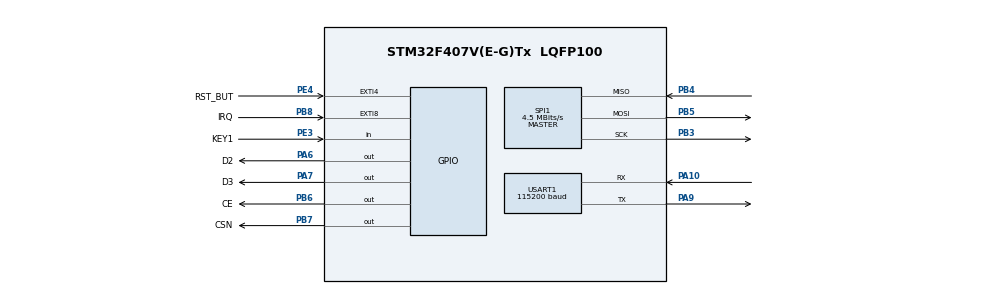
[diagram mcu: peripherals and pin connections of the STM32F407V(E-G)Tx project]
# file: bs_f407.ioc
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IWDG.Prescaler=IWDG_PRESCALER_256
Mcu.Family=STM32F4
Mcu.Name=STM32F407V(E-G)Tx
Mcu.Package=LQFP100
NVIC.EXTI4_IRQn=true\:1\:0\:true\:false\:true\:true\:true
NVIC.EXTI9_5_IRQn=true\:0\:0\:false\:false\:true\:true\:true
NVIC.PriorityGroup=NVIC_PRIORITYGROUP_4
NVIC.USART1_IRQn=true\:1\:0\:true\:false\:true\:true\:true
PA0-WKUP.Mode=SYS_WakeUp0
PA0-WKUP.Signal=SYS_WKUP
PA10.Mode=Asynchronous
PA10.Signal=USART1_RX
PA13.Mode=Serial_Wire
PA13.Signal=SYS_JTMS-SWDIO
PA14.Mode=Serial_Wire
PA14.Signal=SYS_JTCK-SWCLK
PA6.GPIO_Label=D2
PA6.Signal=GPIO_Output
PA7.GPIO_Label=D3
PA7.Signal=GPIO_Output
PA9.Mode=Asynchronous
PA9.Signal=USART1_TX
PB3.GPIO_Speed=GPIO_SPEED_FREQ_HIGH
PB3.Mode=Full_Duplex_Master
PB3.Signal=SPI1_SCK
PB4.GPIO_Speed=GPIO_SPEED_FREQ_HIGH
PB4.Mode=Full_Duplex_Master
PB4.Signal=SPI1_MISO
PB5.GPIO_Speed=GPIO_SPEED_FREQ_HIGH
PB5.Mode=Full_Duplex_Master
PB5.Signal=SPI1_MOSI
PB6.GPIO_Label=CE
PB6.Signal=GPIO_Output
PB7.GPIO_Label=CSN
PB7.Signal=GPIO_Output
PB8.GPIO_Label=IRQ
PB8.GPIO_ModeDefaultEXTI=GPIO_MODE_IT_FALLING
PB8.Signal=GPXTI8
PE3.GPIO_Label=KEY1
PE3.Signal=GPIO_Input
PE4.GPIO_Label=RST_BUT
PE4.GPIO_ModeDefaultEXTI=GPIO_MODE_IT_FALLING
PE4.GPIO_PuPd=GPIO_PULLUP
PE4.Signal=GPXTI4
PH0-OSC_IN.Mode=HSE-External-Oscillator
PH0-OSC_IN.Signal=RCC_OSC_IN
PH1-OSC_OUT.Mode=HSE-External-Oscillator
PH1-OSC_OUT.Signal=RCC_OSC_OUT
ProjectManager.HeapSize=0x200
ProjectManager.StackSize=0x400
ProjectManager.TargetToolchain=MDK-ARM V5.32
RCC.48MHZClocksFreq_Value=36000000
RCC.AHBFreq_Value=72000000
RCC.APB1CLKDivider=RCC_HCLK_DIV2
RCC.APB1Freq_Value=36000000
RCC.APB1TimFreq_Value=72000000
RCC.APB2Freq_Value=72000000
RCC.APB2TimFreq_Value=72000000
RCC.CortexFreq_Value=72000000
RCC.HCLKFreq_Value=72000000
RCC.HSE_VALUE=8000000
RCC.HSI_VALUE=16000000
RCC.LSE_VALUE=32768
RCC.PLLM=4
RCC.PLLN=72
RCC.PLLSourceVirtual=RCC_PLLSOURCE_HSE
RCC.SYSCLKFreq_VALUE=72000000
RCC.SYSCLKSource=RCC_SYSCLKSOURCE_PLLCLK
RCC.VCOOutputFreq_Value=144000000
SPI1.BaudRatePrescaler=SPI_BAUDRATEPRESCALER_16
SPI1.CalculateBaudRate=4.5 MBits/s
SPI1.Direction=SPI_DIRECTION_2LINES
SPI1.Mode=SPI_MODE_MASTER
SPI1.VirtualType=VM_MASTER
USART1.BaudRate=115200
USART1.VirtualMode=VM_ASYNC
VP_IWDG_VS_IWDG.Mode=IWDG_Activate
board=custom

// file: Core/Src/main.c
/* USER CODE BEGIN Header */
/**
  ******************************************************************************
  * @file           : main.c
  * @brief          : Main program body
  ******************************************************************************
  * @attention
  *
  * Copyright (c) 2022 STMicroelectronics.
  * All rights reserved.
  *
  * This software is licensed under terms that can be found in the LICENSE file
  * in the root directory of this software component.
  * If no LICENSE file comes with this software, it is provided AS-IS.
  *
  ******************************************************************************
  */
/* USER CODE END Header */
#include "main.h"

/* USER CODE BEGIN PV */
char str[64] = {0};
uint8_t tx_buf[3]={0};
extern uint8_t rx_buf[];
extern volatile char rx_str[UART_RX_BUFFER_SIZE];
uint8_t buf[5]={0};
uint8_t dt_reg = 0;
uint8_t led_stat[NUM_OF_BUTS] = {0x00};
extern volatile int led_st;
extern volatile int command;
extern volatile int rec_cmnd;
uint8_t but_cmnds[NUM_OF_BUTS] = {0x01};
uint8_t but_cmnds_temp[NUM_OF_BUTS] = {0x01};
uint32_t but_times[NUM_OF_BUTS] = {MAX_TIME};
uint8_t but_addrs[] = {0x01, 0x02, 0x03, 0x04, 0x05, 0x06, 0x07, 0x08, 0x09, 0x0A, 0x0B, 0x0C, 0x0D, 0x0E, 0x0F,0x10, 0x11, 0x12, 0x13, 0x14};
uint8_t but_counter = 0;
uint8_t push_rst = 0;
uint32_t min_time = MAX_TIME;
extern volatile uint8_t f_uart_rec;
uint8_t first_push = 0;

/* USER CODE END PV */

void SystemClock_Config(void);
static void MX_GPIO_Init(void);
static void MX_IWDG_Init(void);
static void MX_SPI1_Init(void);
static void MX_USART1_UART_Init(void);

/* USER CODE BEGIN 0 */

void USART_TX (uint8_t* dt, uint16_t sz)
{
  uint16_t ind = 0;
  while (ind<sz)
  {
    while (!LL_USART_IsActiveFlag_TXE(USART1)) {}
    LL_USART_TransmitData8(USART1,*(uint8_t*)(dt+ind));
    ind++;
  }
}

/* USER CODE END 0 */

int main(void)
{

  /* MCU Configuration--------------------------------------------------------*/

  /* Reset of all peripherals, Initializes the Flash interface and the Systick. */

  LL_APB2_GRP1_EnableClock(LL_APB2_GRP1_PERIPH_SYSCFG);
  LL_APB1_GRP1_EnableClock(LL_APB1_GRP1_PERIPH_PWR);

  NVIC_SetPriorityGrouping(NVIC_PRIORITYGROUP_4);

  /* System interrupt init*/
  /* SysTick_IRQn interrupt configuration */
  NVIC_SetPriority(SysTick_IRQn, NVIC_EncodePriority(NVIC_GetPriorityGrouping(),15, 0));

  /* Configure the system clock */
  SystemClock_Config();

  /* Initialize all configured peripherals */
  MX_GPIO_Init();
  MX_IWDG_Init();
  MX_SPI1_Init();
  MX_USART1_UART_Init();
  /* USER CODE BEGIN 2 */
  LL_SPI_Enable(SPI1);
	LL_USART_EnableIT_RXNE(USART1);									//Разрешаем прерывания USART
	LL_USART_Enable(USART1);
	NRF24_init();

	sprintf(str,"\r\nSTART\r\n\r\n");
	USART_TX((uint8_t*)str,strlen(str));

	dt_reg = NRF24_ReadReg(CONFIG);
  sprintf(str,"CONFIG: 0x%02X\r\n",dt_reg);
	USART_TX((uint8_t*)str,strlen(str));
  dt_reg = NRF24_ReadReg(EN_AA);
  sprintf(str,"EN_AA: 0x%02X\r\n",dt_reg);
	USART_TX((uint8_t*)str,strlen(str));
  dt_reg = NRF24_ReadReg(EN_RXADDR);
  sprintf(str,"EN_RXADDR: 0x%02X\r\n",dt_reg);
	USART_TX((uint8_t*)str,strlen(str));
  dt_reg = NRF24_ReadReg(STATUS);
  sprintf(str,"STATUS: 0x%02X\r\n",dt_reg);
	USART_TX((uint8_t*)str,strlen(str));
  dt_reg = NRF24_ReadReg(RF_SETUP);
  sprintf(str,"RF_SETUP: 0x%02X\r\n",dt_reg);
	USART_TX((uint8_t*)str,strlen(str));
  NRF24_Read_Buf(TX_ADDR,buf,3);
  sprintf(str,"TX_ADDR: 0x%02X, 0x%02X, 0x%02X\r\n",buf[0],buf[1],buf[2]);
	USART_TX((uint8_t*)str,strlen(str));
  NRF24_Read_Buf(RX_ADDR_P1,buf,3);
  sprintf(str,"RX_ADDR: 0x%02X, 0x%02X, 0x%02X\r\n",buf[0],buf[1],buf[2]);
	USART_TX((uint8_t*)str,strlen(str));

	rec_cmnd = 255;
	//LL_mDelay(100);
	//nrf24l01_receive();
	//LL_mDelay(100);
	//tx_buf[0] = 0xFF;
	//tx_buf[1] = 0x01;
	//tx_buf[2] = 0x00;
	//NRF24L01_Send(tx_buf);

  /* USER CODE END 2 */

  /* Infinite loop */
  /* USER CODE BEGIN WHILE */
  while (1)
  {
		uint8_t j_min = 0;

		nrf24l01_receive();

		if (f_uart_rec)
		{
			if ((0 < rec_cmnd) && (rec_cmnd <= NUM_OF_BUTS))
			{
				but_cmnds_temp[rec_cmnd - 1] = (uint8_t)command;
				led_stat[rec_cmnd - 1] = (uint8_t)led_st;
				f_uart_rec = 0;
			}
		}

		if ((push_rst) || (rec_cmnd == 255))
		{
			tx_buf[0] = 0xFF;
			tx_buf[1] = 0x01;
			tx_buf[2] = 0x00;
			NRF24L01_Send(tx_buf);
			for (uint8_t i = 0; i < NUM_OF_BUTS; i++)
			{
				but_cmnds_temp[i] = 0x01;
				led_stat[i] = 0x00;
				but_times[i] = MAX_TIME;
			}
			min_time = MAX_TIME;
			rec_cmnd = 0;
			push_rst = 0;
			first_push = 0;
			LED_TGL;
		}
		else
		{
			tx_buf[0] = but_addrs[but_counter];
			tx_buf[1] = but_cmnds_temp[but_counter];
			tx_buf[2] = led_stat[but_counter];
			NRF24L01_Send(tx_buf);
			but_counter++;
			if (but_counter == NUM_OF_BUTS) but_counter = 0;
		}

		for (uint8_t i = 0; i < NUM_OF_BUTS; i++)
		{
			if (but_times[i] < MAX_TIME)
			{
				if (but_times[i] < min_time)
				{
					min_time = but_times[i];
					j_min = i;
					first_push = 1;
				}
			}
		}

		if (first_push)
		{
			led_stat[j_min] = 0x01;
			but_cmnds_temp[j_min] = 0x01;
			first_push = 0;
			LED_TGL;
		}

		LL_mDelay(1);//подбирается экспериментально исходя из загрузки МК
    /* USER CODE END WHILE */

    /* USER CODE BEGIN 3 */
		LL_IWDG_ReloadCounter(IWDG);
  }
  /* USER CODE END 3 */
}

void SystemClock_Config(void)
{
  LL_FLASH_SetLatency(LL_FLASH_LATENCY_2);
  while(LL_FLASH_GetLatency()!= LL_FLASH_LATENCY_2)
  {
  }
  LL_PWR_SetRegulVoltageScaling(LL_PWR_REGU_VOLTAGE_SCALE1);
  LL_RCC_HSE_Enable();

   /* Wait till HSE is ready */
  while(LL_RCC_HSE_IsReady() != 1)
  {

  }
  LL_RCC_LSI_Enable();

   /* Wait till LSI is ready */
  while(LL_RCC_LSI_IsReady() != 1)
  {

  }
  LL_RCC_PLL_ConfigDomain_SYS(LL_RCC_PLLSOURCE_HSE, LL_RCC_PLLM_DIV_4, 72, LL_RCC_PLLP_DIV_2);
  LL_RCC_PLL_Enable();

   /* Wait till PLL is ready */
  while(LL_RCC_PLL_IsReady() != 1)
  {

  }
  LL_RCC_SetAHBPrescaler(LL_RCC_SYSCLK_DIV_1);
  LL_RCC_SetAPB1Prescaler(LL_RCC_APB1_DIV_2);
  LL_RCC_SetAPB2Prescaler(LL_RCC_APB2_DIV_1);
  LL_RCC_SetSysClkSource(LL_RCC_SYS_CLKSOURCE_PLL);

   /* Wait till System clock is ready */
  while(LL_RCC_GetSysClkSource() != LL_RCC_SYS_CLKSOURCE_STATUS_PLL)
  {

  }
  LL_Init1msTick(72000000);
  LL_SetSystemCoreClock(72000000);
}

static void MX_IWDG_Init(void)
{

  LL_IWDG_Enable(IWDG);
  LL_IWDG_EnableWriteAccess(IWDG);
  LL_IWDG_SetPrescaler(IWDG, LL_IWDG_PRESCALER_256);
  LL_IWDG_SetReloadCounter(IWDG, 4095);
  while (LL_IWDG_IsReady(IWDG) != 1)
  {
  }

  LL_IWDG_ReloadCounter(IWDG);

}

static void MX_SPI1_Init(void)
{

  LL_SPI_InitTypeDef SPI_InitStruct = {0};

  LL_GPIO_InitTypeDef GPIO_InitStruct = {0};

  /* Peripheral clock enable */
  LL_APB2_GRP1_EnableClock(LL_APB2_GRP1_PERIPH_SPI1);

  LL_AHB1_GRP1_EnableClock(LL_AHB1_GRP1_PERIPH_GPIOB);
  /**SPI1 GPIO Configuration
  PB3   ------> SPI1_SCK
  PB4   ------> SPI1_MISO
  PB5   ------> SPI1_MOSI
  */
  GPIO_InitStruct.Pin = LL_GPIO_PIN_3|LL_GPIO_PIN_4|LL_GPIO_PIN_5;
  GPIO_InitStruct.Mode = LL_GPIO_MODE_ALTERNATE;
  GPIO_InitStruct.Speed = LL_GPIO_SPEED_FREQ_HIGH;
  GPIO_InitStruct.OutputType = LL_GPIO_OUTPUT_PUSHPULL;
  GPIO_InitStruct.Pull = LL_GPIO_PULL_NO;
  GPIO_InitStruct.Alternate = LL_GPIO_AF_5;
  LL_GPIO_Init(GPIOB, &GPIO_InitStruct);

  /* SPI1 parameter configuration*/
  SPI_InitStruct.TransferDirection = LL_SPI_FULL_DUPLEX;
  SPI_InitStruct.Mode = LL_SPI_MODE_MASTER;
  SPI_InitStruct.DataWidth = LL_SPI_DATAWIDTH_8BIT;
  SPI_InitStruct.ClockPolarity = LL_SPI_POLARITY_LOW;
  SPI_InitStruct.ClockPhase = LL_SPI_PHASE_1EDGE;
  SPI_InitStruct.NSS = LL_SPI_NSS_SOFT;
  SPI_InitStruct.BaudRate = LL_SPI_BAUDRATEPRESCALER_DIV16;
  SPI_InitStruct.BitOrder = LL_SPI_MSB_FIRST;
  SPI_InitStruct.CRCCalculation = LL_SPI_CRCCALCULATION_DISABLE;
  SPI_InitStruct.CRCPoly = 10;
  LL_SPI_Init(SPI1, &SPI_InitStruct);
  LL_SPI_SetStandard(SPI1, LL_SPI_PROTOCOL_MOTOROLA);

}

static void MX_USART1_UART_Init(void)
{

  LL_USART_InitTypeDef USART_InitStruct = {0};

  LL_GPIO_InitTypeDef GPIO_InitStruct = {0};

  /* Peripheral clock enable */
  LL_APB2_GRP1_EnableClock(LL_APB2_GRP1_PERIPH_USART1);

  LL_AHB1_GRP1_EnableClock(LL_AHB1_GRP1_PERIPH_GPIOA);
  /**USART1 GPIO Configuration
  PA9   ------> USART1_TX
  PA10   ------> USART1_RX
  */
  GPIO_InitStruct.Pin = LL_GPIO_PIN_9|LL_GPIO_PIN_10;
  GPIO_InitStruct.Mode = LL_GPIO_MODE_ALTERNATE;
  GPIO_InitStruct.Speed = LL_GPIO_SPEED_FREQ_VERY_HIGH;
  GPIO_InitStruct.OutputType = LL_GPIO_OUTPUT_PUSHPULL;
  GPIO_InitStruct.Pull = LL_GPIO_PULL_NO;
  GPIO_InitStruct.Alternate = LL_GPIO_AF_7;
  LL_GPIO_Init(GPIOA, &GPIO_InitStruct);

  /* USART1 interrupt Init */
  NVIC_SetPriority(USART1_IRQn, NVIC_EncodePriority(NVIC_GetPriorityGrouping(),1, 0));
  NVIC_EnableIRQ(USART1_IRQn);

  USART_InitStruct.BaudRate = 115200;
  USART_InitStruct.DataWidth = LL_USART_DATAWIDTH_8B;
  USART_InitStruct.StopBits = LL_USART_STOPBITS_1;
  USART_InitStruct.Parity = LL_USART_PARITY_NONE;
  USART_InitStruct.TransferDirection = LL_USART_DIRECTION_TX_RX;
  USART_InitStruct.HardwareFlowControl = LL_USART_HWCONTROL_NONE;
  USART_InitStruct.OverSampling = LL_USART_OVERSAMPLING_16;
  LL_USART_Init(USART1, &USART_InitStruct);
  LL_USART_ConfigAsyncMode(USART1);
  LL_USART_Enable(USART1);

}

static void MX_GPIO_Init(void)
{
  LL_EXTI_InitTypeDef EXTI_InitStruct = {0};
  LL_GPIO_InitTypeDef GPIO_InitStruct = {0};

  /* GPIO Ports Clock Enable */
  LL_AHB1_GRP1_EnableClock(LL_AHB1_GRP1_PERIPH_GPIOE);
  LL_AHB1_GRP1_EnableClock(LL_AHB1_GRP1_PERIPH_GPIOH);
  LL_AHB1_GRP1_EnableClock(LL_AHB1_GRP1_PERIPH_GPIOA);
  LL_AHB1_GRP1_EnableClock(LL_AHB1_GRP1_PERIPH_GPIOB);

  /**/
  LL_GPIO_ResetOutputPin(GPIOA, D2_Pin|D3_Pin);

  /**/
  LL_GPIO_ResetOutputPin(GPIOB, CE_Pin|CSN_Pin);

  /**/
  GPIO_InitStruct.Pin = KEY1_Pin;
  GPIO_InitStruct.Mode = LL_GPIO_MODE_INPUT;
  GPIO_InitStruct.Pull = LL_GPIO_PULL_NO;
  LL_GPIO_Init(KEY1_GPIO_Port, &GPIO_InitStruct);

  /**/
  GPIO_InitStruct.Pin = D2_Pin|D3_Pin;
  GPIO_InitStruct.Mode = LL_GPIO_MODE_OUTPUT;
  GPIO_InitStruct.Speed = LL_GPIO_SPEED_FREQ_LOW;
  GPIO_InitStruct.OutputType = LL_GPIO_OUTPUT_PUSHPULL;
  GPIO_InitStruct.Pull = LL_GPIO_PULL_NO;
  LL_GPIO_Init(GPIOA, &GPIO_InitStruct);

  /**/
  GPIO_InitStruct.Pin = CE_Pin|CSN_Pin;
  GPIO_InitStruct.Mode = LL_GPIO_MODE_OUTPUT;
  GPIO_InitStruct.Speed = LL_GPIO_SPEED_FREQ_LOW;
  GPIO_InitStruct.OutputType = LL_GPIO_OUTPUT_PUSHPULL;
  GPIO_InitStruct.Pull = LL_GPIO_PULL_NO;
  LL_GPIO_Init(GPIOB, &GPIO_InitStruct);

  /**/
  LL_SYSCFG_SetEXTISource(LL_SYSCFG_EXTI_PORTE, LL_SYSCFG_EXTI_LINE4);

  /**/
  LL_SYSCFG_SetEXTISource(LL_SYSCFG_EXTI_PORTB, LL_SYSCFG_EXTI_LINE8);

  /**/
  EXTI_InitStruct.Line_0_31 = LL_EXTI_LINE_4;
  EXTI_InitStruct.LineCommand = ENABLE;
  EXTI_InitStruct.Mode = LL_EXTI_MODE_IT;
  EXTI_InitStruct.Trigger = LL_EXTI_TRIGGER_FALLING;
  LL_EXTI_Init(&EXTI_InitStruct);

  /**/
  EXTI_InitStruct.Line_0_31 = LL_EXTI_LINE_8;
  EXTI_InitStruct.LineCommand = ENABLE;
  EXTI_InitStruct.Mode = LL_EXTI_MODE_IT;
  EXTI_InitStruct.Trigger = LL_EXTI_TRIGGER_FALLING;
  LL_EXTI_Init(&EXTI_InitStruct);

  /**/
  LL_GPIO_SetPinPull(RST_BUT_GPIO_Port, RST_BUT_Pin, LL_GPIO_PULL_UP);

  /**/
  LL_GPIO_SetPinPull(IRQ_GPIO_Port, IRQ_Pin, LL_GPIO_PULL_NO);

  /**/
  LL_GPIO_SetPinMode(RST_BUT_GPIO_Port, RST_BUT_Pin, LL_GPIO_MODE_INPUT);

  /**/
  LL_GPIO_SetPinMode(IRQ_GPIO_Port, IRQ_Pin, LL_GPIO_MODE_INPUT);

  /* EXTI interrupt init*/
  NVIC_SetPriority(EXTI4_IRQn, NVIC_EncodePriority(NVIC_GetPriorityGrouping(),1, 0));
  NVIC_EnableIRQ(EXTI4_IRQn);
  NVIC_SetPriority(EXTI9_5_IRQn, NVIC_EncodePriority(NVIC_GetPriorityGrouping(),0, 0));
  NVIC_EnableIRQ(EXTI9_5_IRQn);

}

/* USER CODE BEGIN 4 */
void RST_PUSH_Callback(void)
{
	if (!LL_GPIO_IsInputPinSet(RST_BUT_GPIO_Port, RST_BUT_Pin))
	{
		push_rst = 1;
	}
}
/* USER CODE END 4 */

void Error_Handler(void)
{
  __disable_irq();
  while (1)
  {
  }
}
